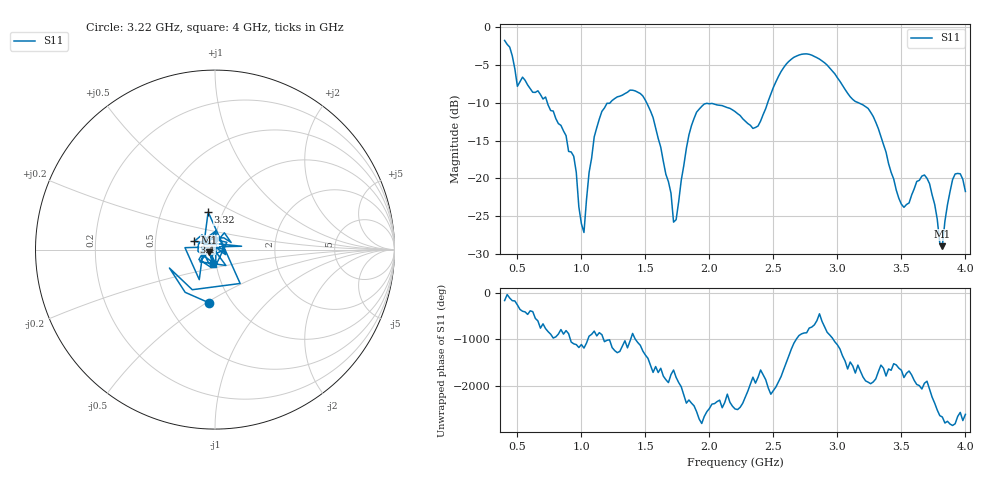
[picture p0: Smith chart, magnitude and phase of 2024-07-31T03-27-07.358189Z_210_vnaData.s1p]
!Created with skrf (http://scikit-rf.org).
# Hz S RI R 50.0
!freq ReS11 ImS11
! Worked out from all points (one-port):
!   181 points, 400 MHz to 4 GHz, reference 50 ohm
!   lowest |S11| = -29.0 dB at 3.82 GHz (marker M1), VSWR 1.07, Z = 46.9 - j1.44 ohm
!   |S11| at or under -10 dB: 734.4 MHz to 1.224 GHz (489.2 MHz wide, 50 % of centre); 1.51 GHz to 2.455 GHz (945.2 MHz wide, 47.7 % of centre); 3.165 GHz to end of sweep
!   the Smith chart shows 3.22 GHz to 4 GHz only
!   S11 on the Smith chart (normalised r, x): 3.22 GHz: 0.79, -0.51; 3.32 GHz: 0.85, +0.37; 3.4 GHz: 0.79, +0.07; 4 GHz: 0.96, -0.16
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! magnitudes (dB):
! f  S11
! 400 MHz  -1.7
! 500 MHz  -7.8
! 720 MHz  -9.2
! 860 MHz  -13.7
! 940 MHz  -17.1
! 1.02 GHz  -27.2
! 1.1 GHz  -14.5
! 1.3 GHz  -9.1
! 1.5 GHz  -9.7
! 1.62 GHz  -15.9
! 1.72 GHz  -25.8
! 1.76 GHz  -23.1
! 1.84 GHz  -14.3
! 1.9 GHz  -11.2
! 2.2 GHz  -11.2
! 2.38 GHz  -13.1
! 2.66 GHz  -4.0
! 2.86 GHz  -4.2
! 3.1 GHz  -9.2
! 3.22 GHz  -10.5
! 3.32 GHz  -13.4
! 3.4 GHz  -18.1
! 3.5 GHz  -23.4
! 3.56 GHz  -23.2
! 3.7 GHz  -20.0
! 3.82 GHz  -29.0
! 3.9 GHz  -20.2
! 4 GHz  -21.7
